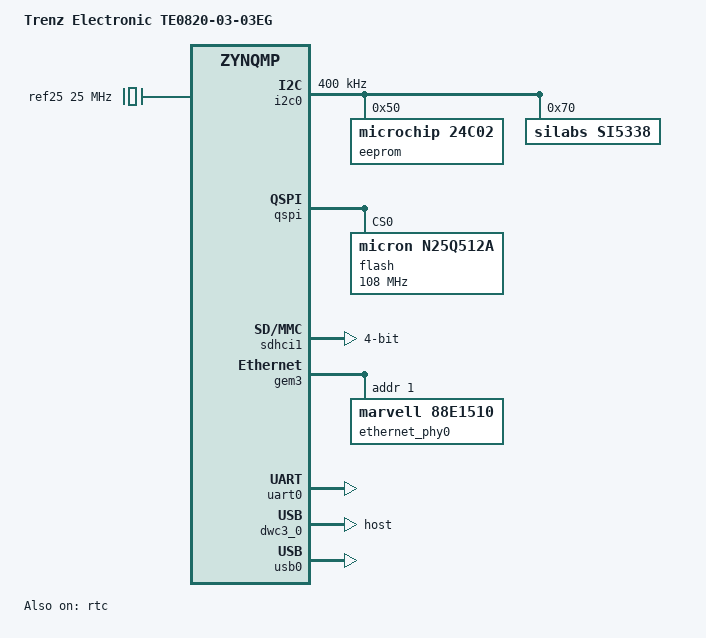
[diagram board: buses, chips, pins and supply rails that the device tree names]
/*
###################################################################################################
# Defines the hardware in the TE0820-03-03EG Trenz Electronic Board.
# Copyright Richard Dunkley 2020
###################################################################################################
*/

/ {
	model = "Trenz Electronic TE0820-03-03EG";
	compatible = "xlnx,te0820-03-03eg", "xlnx,zynqmp";

	aliases {
		ethernet0 = &gem3;
		gpio0 = &gpio;
		i2c0 = &i2c0;
		mmc0 = &sdhci1;
		/*mmc1 = &sdhci0;*/
		rtc0 = &rtc;
		serial0 = &uart0;
		spi0 = &qspi;
		usb0 = &usb0;
	};

	chosen {
		bootargs = "earlycon root=/dev/mmcblk1p2";
		stdout-path = "serial0:115200n8";
		xlnx,eeprom = &eeprom;
	};

	ref25: ref25M {
	    compatible = "fixed-clock";
	    #clock-cells = <0>;
	    clock-frequency = <25000000>;
    };
};

&i2c0 {
	status = "okay";
	clock-frequency = <400000>;

	/* U25
	Microchip 24AA025E48T-I/OT
	2kb (256 Byte) EEPROM
	16 Byte Pages
	*/
	eeprom: eeprom@50 {
		/* Include the "atmel,24c02" so that the Xilinx GEM driver will
		   recognize it and load the MAC address from it.
		   */
		compatible = "microchip,24c02", "atmel,24c02";
		pagesize = <16>;
		reg = <0x50>;
		#address-cells = <1>;
		#size-cells = <1>;
		/* read-only */

		/* 
		Designate the last 6 bytes of the EEPROM to
		the MAC address.
		*/
		mac_addr: mac_addr@fa{
			reg = <0xFA 0x6>;
		};
	};

	/* U10
	SI5338A-B-GMR
	Clock Generator
	*/
	si5338: clock-generator@70 {
		compatible = "silabs,si5338";
		reg = <0x70>;
		#address-cells = <1>;
		#size-cells = <0>;
		#clock-cells = <1>;

		/* Connect IN3 to 25Mhz clock */
		clocks = <0>, <&ref25>, <0>, <0>, <0>;
		clock-names = "in12", "in3", "in4", "in5", "in6";

		/* Set the reference clock to the 25Mhz (SI5338_REF_SRC_CLKIN3) */
		silab,ref-source = <1>;

		/* output (Clocks currently are not correct) */
		clkgen0: clkout0@0 {
			reg = <0>;
			silabs,drive-config = "1V8_LVDS";
			silabs,clock-source = <5>; /* SI5338_OUT_MUX_MS0 */
			silabs,disable-state = <0>; /* SI5338_OUT_DIS_HIZ */
			clock-frequency = <125000000>;
		};
		clkgen1: clkout1@1 {
			reg = <1>;
			silabs,drive-config = "1V8_LVDS";
			silabs,clock-source = <6>; /* SI5338_OUT_MUX_MSN */
			silabs,disable-state = <0>; /* SI5338_OUT_DIS_HIZ */
			clock-frequency = <125000000>;
		};
		clkgen2: clkout2@2 {
			reg = <2>;
			silabs,drive-config = "1V8_LVDS";
			silabs,clock-source = <6>; /* SI5338_OUT_MUX_MSN */
			silabs,disable-state = <0>; /* SI5338_OUT_DIS_HIZ */
			clock-frequency = <125000000>;
		};
	};
};

&qspi {
	#address-cells = <1>;
    #size-cells = <0>;
    status = "okay";
	is-dual = <1>;
	flash@0 {
		compatible = "micron,n25q512a", "jedec,spi-nor"; /* 128MB */
		#address-cells = <1>;
		#size-cells = <1>;
		reg = <0x0>;
		spi-max-frequency = <108000000>; /* Based on Datasheet */

		/* The following partitions are untested and addresses
			may not be correct. */
/*		partition@qspi-fsbl-uboot { /* for testing purpose */
/*			label = "qspi-fsbl-uboot";
			reg = <0x0 0x100000>;
		};
		partition@qspi-linux { /* for testing purpose */
/*			label = "qspi-linux";
			reg = <0x100000 0x500000>;
		};
		partition@qspi-device-tree { /* for testing purpose */
/*			label = "qspi-device-tree";
        	reg = <0x600000 0x20000>;
		};
		partition@qspi-rootfs { /* for testing purpose */
/*			label = "qspi-rootfs";
			reg = <0x620000 0x5E0000>;
		};*/
	};
};

&rtc {
	status = "okay";
};

/* 
    eMMC Card
    Currently unused. If this is enabled there is no guarantee that the kernel will pick the correct
    boot device since mmcblk0p2 can change based on enumeration. Couldn't get UUID to work in uEnv.txt
    so this is currently disabled.
*/
&sdhci0 {
	status = "disabled";
	bus-width = <0x8>;
	xlnx,mio_bank = <0>;
	non-removable;
	disable-wp;
	cap-mmc-hw-reset;
};

/* 
    SD1 with level shifter 
    Card Detect, Power Enable, and Write Protect are unused on the TE0706 board
    so the settings below accomodate this. Note: disable-wp must be set to prevent
    a kernel panic since the card detect is not available and we are mouting a rw
    file system.
*/
&sdhci1 {
	status = "okay";
    bus-width = <0x4>;
    xlnx,has-cd = <0x0>;
    xlnx,has-power = <0x0>;
    xlnx,has-wp = <0x0>;
	no-1-8-v;
	xlnx,mio_bank = <0>;
    disable-wp;
    xlnx,sdio-clk-freq-hz = <0x2faf080>;
    broken-adma2 = <0x1>;
};

/* ETH PHY */
&gem3 {
	status = "okay";
    ethernet_phy0: ethernet-phy@0 {
	    compatible = "marvell,88e1510";
		device_type = "ethernet-phy";
		nvmem-cells = <&mac_addr>;
		nvmem-cell-names = "mac-address";
    	reg = <1>;
	};
};

&uart0 {
	status = "okay";
};

/* USB  */
&dwc3_0 {
    status = "okay";
    dr_mode = "host";
    maximum-speed = "high-speed";
    /delete-property/phy-names;
    /delete-property/phys;
    /delete-property/snps,usb3_lpm_capable;
 	 snps,dis_u2_susphy_quirk;
  	snps,dis_u3_susphy_quirk;
};
   
&usb0 {
    status = "okay";
    /delete-property/ clocks;
    /delete-property/ clock-names;
    clocks = <0x3 0x20>;
    clock-names = "bus_clk";
};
